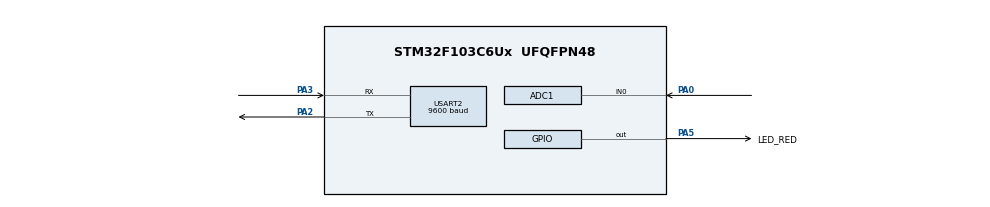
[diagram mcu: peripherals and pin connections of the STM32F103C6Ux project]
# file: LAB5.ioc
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ADC1.Channel-0\#ChannelRegularConversion=ADC_CHANNEL_0
ADC1.ContinuousConvMode=ENABLE
ADC1.NbrOfConversionFlag=1
ADC1.Rank-0\#ChannelRegularConversion=1
ADC1.SamplingTime-0\#ChannelRegularConversion=ADC_SAMPLETIME_1CYCLE_5
ADC1.master=1
Mcu.Family=STM32F1
Mcu.Name=STM32F103C6Ux
Mcu.Package=UFQFPN48
NVIC.PriorityGroup=NVIC_PRIORITYGROUP_4
NVIC.TIM2_IRQn=true\:0\:0\:false\:false\:true\:true\:true
NVIC.USART2_IRQn=true\:0\:0\:false\:false\:true\:true\:true
PA0-WKUP.Signal=ADCx_IN0
PA2.Mode=Asynchronous
PA2.Signal=USART2_TX
PA3.Mode=Asynchronous
PA3.Signal=USART2_RX
PA5.GPIO_Label=LED_RED
PA5.Signal=GPIO_Output
ProjectManager.HeapSize=0x200
ProjectManager.StackSize=0x400
ProjectManager.TargetToolchain=STM32CubeIDE
RCC.APB1Freq_Value=8000000
RCC.APB2Freq_Value=8000000
SH.ADCx_IN0.0=ADC1_IN0,IN0
TIM2.Period=9
TIM2.Prescaler=7999
USART2.BaudRate=9600
USART2.VirtualMode=VM_ASYNC
VP_SYS_VS_ND.Mode=No_Debug
VP_TIM2_VS_ClockSourceINT.Mode=Internal
board=custom

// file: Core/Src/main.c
/* USER CODE BEGIN Header */
/**
  ******************************************************************************
  * @file           : main.c
  * @brief          : Main program body
  ******************************************************************************
  * @attention
  *
  * <h2><center>&copy; Copyright (c) 2025 STMicroelectronics.
  * All rights reserved.</center></h2>
  *
  * This software component is licensed by ST under BSD 3-Clause license,
  * the "License"; You may not use this file except in compliance with the
  * License. You may obtain a copy of the License at:
  *                        opensource.org/licenses/BSD-3-Clause
  *
  ******************************************************************************
  */
/* USER CODE END Header */
#include "main.h"
#include <stdio.h>
#include <string.h>
#include "command_parser.h"
#include "softwarre_timer.h"

ADC_HandleTypeDef hadc1;

TIM_HandleTypeDef htim2;

UART_HandleTypeDef huart2;

/* USER CODE BEGIN PV */

extern uint8_t temp;
extern uint8_t buffer[MAX_BUFFER_SIZE];
extern uint8_t index_buffer;
extern uint8_t buffer_flag ;

/* USER CODE END PV */

void SystemClock_Config(void);
static void MX_GPIO_Init(void);
static void MX_ADC1_Init(void);
static void MX_TIM2_Init(void);
static void MX_USART2_UART_Init(void);

/* USER CODE BEGIN 0 */

void HAL_UART_RxCpltCallback(UART_HandleTypeDef * huart){
	if (huart->Instance == USART2){

		buffer[index_buffer++] = temp;
		if (index_buffer == 30) index_buffer = 0;
		buffer_flag =1;
		//HAL_UART_Transmit(&huart2, &temp, 1, 50);
		HAL_UART_Receive_IT(&huart2, &temp, 1);
	}
}
/* USER CODE END 0 */

int main(void)
{

  /* MCU Configuration--------------------------------------------------------*/

  /* Reset of all peripherals, Initializes the Flash interface and the Systick. */
  HAL_Init();

  /* Configure the system clock */
  SystemClock_Config();

  /* Initialize all configured peripherals */
  MX_GPIO_Init();
  MX_ADC1_Init();
  MX_TIM2_Init();
  MX_USART2_UART_Init();
  HAL_UART_Receive_IT (& huart2 , &temp , 1);
  /* USER CODE BEGIN 2 */
  HAL_TIM_Base_Start_IT(&htim2);
  /* USER CODE END 2 */

  /* Infinite loop */
  /* USER CODE BEGIN WHILE */

  while (1)
  {
	  if (buffer_flag == 1){
		  command_parser_fsm();
		  buffer_flag = 0;
	  }
	  uart_communication_fsm();
    /* USER CODE END WHILE */

  }
}

void SystemClock_Config(void)
{
  RCC_OscInitTypeDef RCC_OscInitStruct = {0};
  RCC_ClkInitTypeDef RCC_ClkInitStruct = {0};
  RCC_PeriphCLKInitTypeDef PeriphClkInit = {0};

  /** Initializes the RCC Oscillators according to the specified parameters
  * in the RCC_OscInitTypeDef structure.
  */
  RCC_OscInitStruct.OscillatorType = RCC_OSCILLATORTYPE_HSI;
  RCC_OscInitStruct.HSIState = RCC_HSI_ON;
  RCC_OscInitStruct.HSICalibrationValue = RCC_HSICALIBRATION_DEFAULT;
  RCC_OscInitStruct.PLL.PLLState = RCC_PLL_NONE;
  if (HAL_RCC_OscConfig(&RCC_OscInitStruct) != HAL_OK)
  {
    Error_Handler();
  }
  /** Initializes the CPU, AHB and APB buses clocks
  */
  RCC_ClkInitStruct.ClockType = RCC_CLOCKTYPE_HCLK|RCC_CLOCKTYPE_SYSCLK
                              |RCC_CLOCKTYPE_PCLK1|RCC_CLOCKTYPE_PCLK2;
  RCC_ClkInitStruct.SYSCLKSource = RCC_SYSCLKSOURCE_HSI;
  RCC_ClkInitStruct.AHBCLKDivider = RCC_SYSCLK_DIV1;
  RCC_ClkInitStruct.APB1CLKDivider = RCC_HCLK_DIV1;
  RCC_ClkInitStruct.APB2CLKDivider = RCC_HCLK_DIV1;

  if (HAL_RCC_ClockConfig(&RCC_ClkInitStruct, FLASH_LATENCY_0) != HAL_OK)
  {
    Error_Handler();
  }
  PeriphClkInit.PeriphClockSelection = RCC_PERIPHCLK_ADC;
  PeriphClkInit.AdcClockSelection = RCC_ADCPCLK2_DIV2;
  if (HAL_RCCEx_PeriphCLKConfig(&PeriphClkInit) != HAL_OK)
  {
    Error_Handler();
  }
}

static void MX_ADC1_Init(void)
{

  ADC_ChannelConfTypeDef sConfig = {0};

  /** Common config
  */
  hadc1.Instance = ADC1;
  hadc1.Init.ScanConvMode = ADC_SCAN_DISABLE;
  hadc1.Init.ContinuousConvMode = ENABLE;
  hadc1.Init.DiscontinuousConvMode = DISABLE;
  hadc1.Init.ExternalTrigConv = ADC_SOFTWARE_START;
  hadc1.Init.DataAlign = ADC_DATAALIGN_RIGHT;
  hadc1.Init.NbrOfConversion = 1;
  if (HAL_ADC_Init(&hadc1) != HAL_OK)
  {
    Error_Handler();
  }
  /** Configure Regular Channel
  */
  sConfig.Channel = ADC_CHANNEL_0;
  sConfig.Rank = ADC_REGULAR_RANK_1;
  sConfig.SamplingTime = ADC_SAMPLETIME_1CYCLE_5;
  if (HAL_ADC_ConfigChannel(&hadc1, &sConfig) != HAL_OK)
  {
    Error_Handler();
  }

}

static void MX_TIM2_Init(void)
{

  TIM_ClockConfigTypeDef sClockSourceConfig = {0};
  TIM_MasterConfigTypeDef sMasterConfig = {0};

  htim2.Instance = TIM2;
  htim2.Init.Prescaler = 7999;
  htim2.Init.CounterMode = TIM_COUNTERMODE_UP;
  htim2.Init.Period = 9;
  htim2.Init.ClockDivision = TIM_CLOCKDIVISION_DIV1;
  htim2.Init.AutoReloadPreload = TIM_AUTORELOAD_PRELOAD_DISABLE;
  if (HAL_TIM_Base_Init(&htim2) != HAL_OK)
  {
    Error_Handler();
  }
  sClockSourceConfig.ClockSource = TIM_CLOCKSOURCE_INTERNAL;
  if (HAL_TIM_ConfigClockSource(&htim2, &sClockSourceConfig) != HAL_OK)
  {
    Error_Handler();
  }
  sMasterConfig.MasterOutputTrigger = TIM_TRGO_RESET;
  sMasterConfig.MasterSlaveMode = TIM_MASTERSLAVEMODE_DISABLE;
  if (HAL_TIMEx_MasterConfigSynchronization(&htim2, &sMasterConfig) != HAL_OK)
  {
    Error_Handler();
  }

}

static void MX_USART2_UART_Init(void)
{

  huart2.Instance = USART2;
  huart2.Init.BaudRate = 9600;
  huart2.Init.WordLength = UART_WORDLENGTH_8B;
  huart2.Init.StopBits = UART_STOPBITS_1;
  huart2.Init.Parity = UART_PARITY_NONE;
  huart2.Init.Mode = UART_MODE_TX_RX;
  huart2.Init.HwFlowCtl = UART_HWCONTROL_NONE;
  huart2.Init.OverSampling = UART_OVERSAMPLING_16;
  if (HAL_UART_Init(&huart2) != HAL_OK)
  {
    Error_Handler();
  }

}

static void MX_GPIO_Init(void)
{
  GPIO_InitTypeDef GPIO_InitStruct = {0};

  /* GPIO Ports Clock Enable */
  __HAL_RCC_GPIOA_CLK_ENABLE();

  /*Configure GPIO pin Output Level */
  HAL_GPIO_WritePin(LED_RED_GPIO_Port, LED_RED_Pin, GPIO_PIN_RESET);

  /*Configure GPIO pin : LED_RED_Pin */
  GPIO_InitStruct.Pin = LED_RED_Pin;
  GPIO_InitStruct.Mode = GPIO_MODE_OUTPUT_PP;
  GPIO_InitStruct.Pull = GPIO_NOPULL;
  GPIO_InitStruct.Speed = GPIO_SPEED_FREQ_LOW;
  HAL_GPIO_Init(LED_RED_GPIO_Port, &GPIO_InitStruct);

}

/* USER CODE BEGIN 4 */
void HAL_TIM_PeriodElapsedCallback(TIM_HandleTypeDef *htim)
{
    if (htim->Instance == TIM2) {
        timerRun();
    }
}
/* USER CODE END 4 */

void Error_Handler(void)
{
  __disable_irq();
  while (1)
  {
  }
}

/************************ (C) COPYRIGHT STMicroelectronics *****END OF FILE****/
